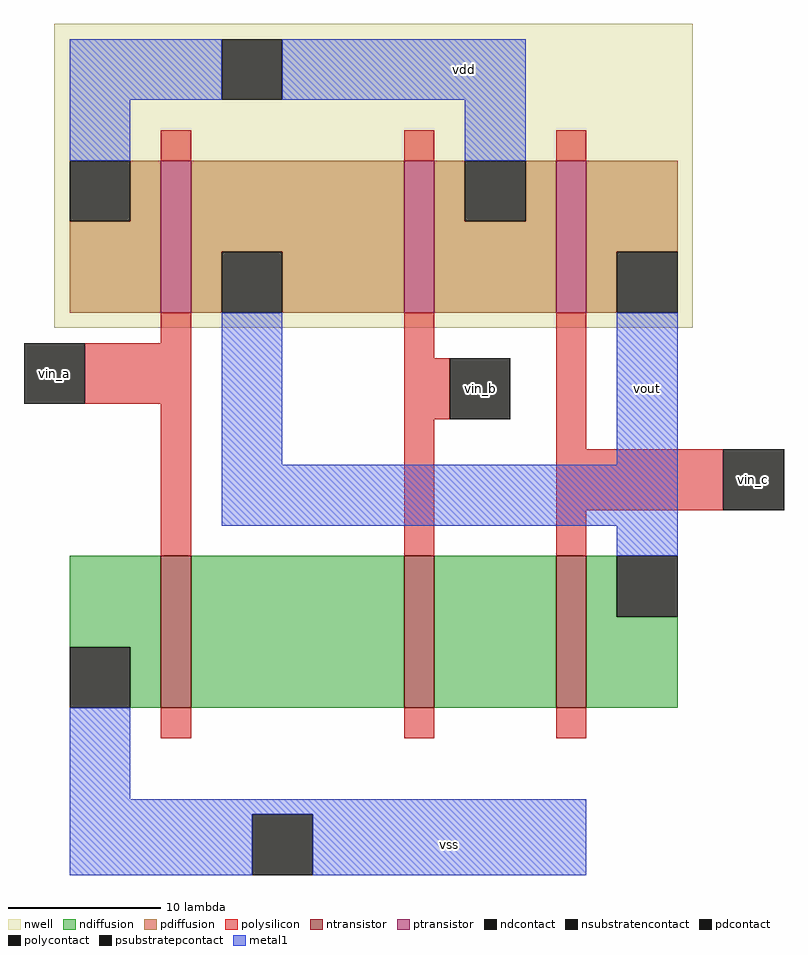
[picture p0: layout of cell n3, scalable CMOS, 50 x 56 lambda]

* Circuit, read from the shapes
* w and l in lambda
.subckt n3 vdd vin_a vin_b vin_c vout vss
M1 n1 vin_a vss vss nfet w=10 l=2
M2 n2 vin_b n1 vss nfet w=10 l=2
M3 vout vin_c n2 vss nfet w=10 l=2
M4 vout vin_a vdd vdd pfet w=10 l=2
M5 vdd vin_b vout vdd pfet w=10 l=2
M6 vout vin_c vdd vdd pfet w=10 l=2
.ends

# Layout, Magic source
magic
tech scmos
<< nwell >>
rect -11 1 31 21
<< polysilicon >>
rect -4 12 -2 14
rect 12 12 14 14
rect 22 12 24 14
rect -4 0 -2 2
rect -9 -4 -2 0
rect -4 -14 -2 -4
rect 12 -1 14 2
rect 12 -5 15 -1
rect 12 -14 14 -5
rect 22 -7 24 2
rect 22 -11 33 -7
rect 22 -14 24 -11
rect -4 -26 -2 -24
rect 12 -26 14 -24
rect 22 -26 24 -24
<< ndiffusion >>
rect -10 -20 -4 -14
rect -6 -24 -4 -20
rect -2 -24 12 -14
rect 14 -24 22 -14
rect 24 -18 26 -14
rect 24 -24 30 -18
<< pdiffusion >>
rect -6 8 -4 12
rect -10 2 -4 8
rect -2 6 12 12
rect -2 2 0 6
rect 4 2 12 6
rect 14 8 16 12
rect 20 8 22 12
rect 14 2 22 8
rect 24 6 30 12
rect 24 2 26 6
<< metal1 >>
rect -10 16 0 20
rect 4 16 20 20
rect -10 12 -6 16
rect 16 12 20 16
rect 0 -8 4 2
rect 26 -8 30 2
rect 0 -12 30 -8
rect 26 -14 30 -12
rect -10 -30 -6 -24
rect -10 -31 24 -30
rect -10 -35 2 -31
rect 6 -35 24 -31
<< ntransistor >>
rect -4 -24 -2 -14
rect 12 -24 14 -14
rect 22 -24 24 -14
<< ptransistor >>
rect -4 2 -2 12
rect 12 2 14 12
rect 22 2 24 12
<< polycontact >>
rect -13 -4 -9 0
rect 15 -5 19 -1
rect 33 -11 37 -7
<< ndcontact >>
rect -10 -24 -6 -20
rect 26 -18 30 -14
<< pdcontact >>
rect -10 8 -6 12
rect 0 2 4 6
rect 16 8 20 12
rect 26 2 30 6
<< psubstratepcontact >>
rect 2 -35 6 -31
<< nsubstratencontact >>
rect 0 16 4 20
<< labels >>
rlabel polycontact -13 -4 -9 0 7 vin_a
rlabel metal1 14 16 18 20 1 vdd
rlabel metal1 13 -35 17 -31 5 vss
rlabel polycontact 33 -11 37 -7 3 vin_c
rlabel polycontact 15 -5 19 -1 1 vin_b
rlabel metal1 26 -5 30 -1 3 vout
<< end >>
